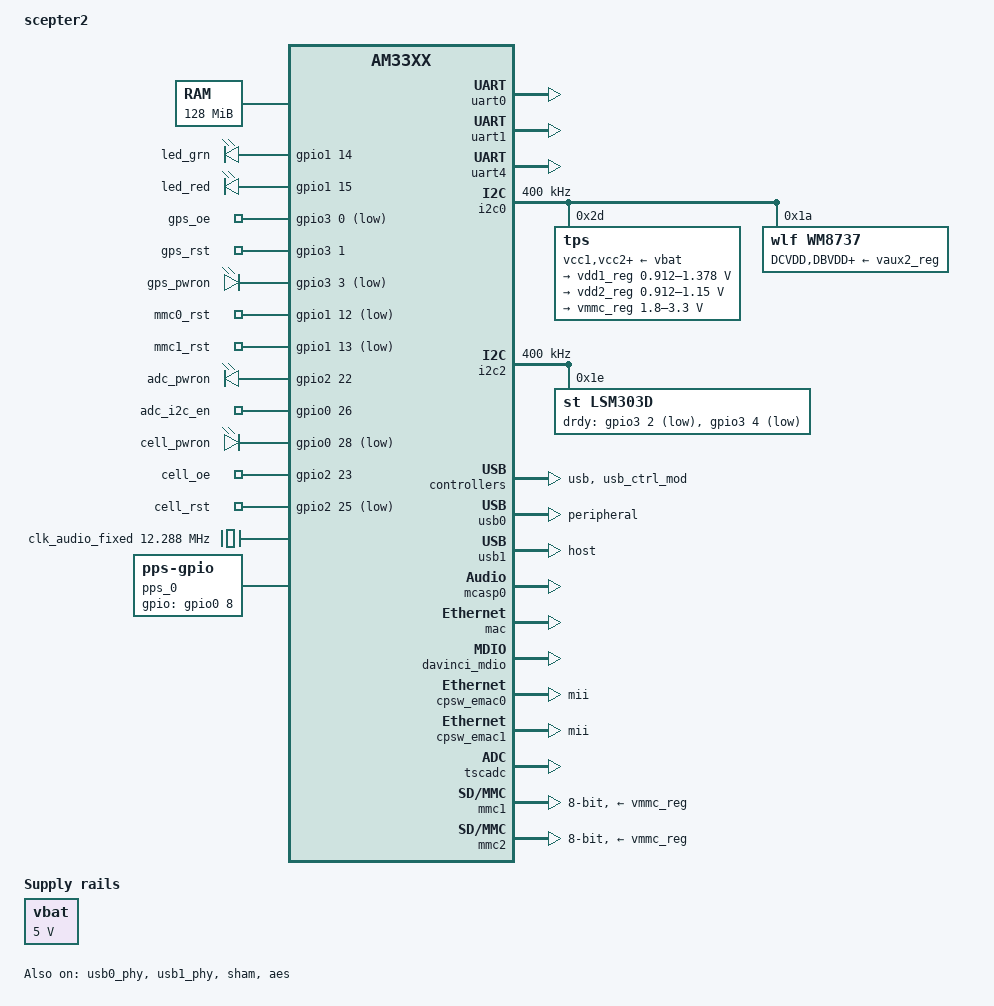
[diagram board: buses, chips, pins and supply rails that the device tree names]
/*
 * Copyright (C) 2015-16 by Tom Riddle, Gener8 Inc http://gener8.net
 * and Robert B. Calhoun, ShotSpotter Inc http://shotspotter.com
 *
 * This program is free software; you can redistribute it and/or modify
 * it under the terms of the GNU General Public License version 2 as
 * published by the Free Software Foundation.
 */
/dts-v1/;

#include "am33xx.dtsi"
#include <dt-bindings/interrupt-controller/irq.h>

/ {
	model = "scepter2";
	compatible = "ti,am335x-evm", "ti,am33xx";

	cpus {
		cpu@0 {
			cpu0-supply = <&vdd1_reg>;
		};
	};

	memory {
		device_type = "memory";
		reg = <0x80000000 0x08000000>; /* 128 MB - SCEPT2 change */
	};

	vbat: fixedregulator@0 {
		compatible = "regulator-fixed";
		regulator-name = "vbat";
		regulator-min-microvolt = <5000000>;
		regulator-max-microvolt = <5000000>;
		regulator-boot-on;
	};


/* Scepter2 leds, gps controls include audio and mmc gpios  */
/* ------------------------------------------------------------------------ */
   	leds {
   		pinctrl-names = "default", "sleep";
		pinctrl-0 = <&user_leds_default>;
		pinctrl-1 = <&user_leds_sleep>;

		compatible = "gpio-leds";

		led@1 {
		      label = "led_grn";
		      gpios = <&gpio1 14 GPIO_ACTIVE_HIGH>;
		      default-state = "on";
		};

		led@2 {
		      label = "led_red";
		      gpios = <&gpio1 15 GPIO_ACTIVE_HIGH>;
		      default-state = "on";
		};
	};

	gpsctls {

   		pinctrl-names = "default", "sleep";
		pinctrl-0 = <&user_gpsctl_default>;
		pinctrl-1 = <&user_gpsctl_sleep>;

		compatible = "gpio-leds";

		gpsctl@1 {
		      label = "gps_oe";
		      gpios = <&gpio3 0 GPIO_ACTIVE_LOW>;
		      default-state = "on";
		};

		gpsctl@2 {
		      label = "gps_rst";
		      gpios = <&gpio3 1 GPIO_ACTIVE_HIGH>;
		      default-state = "off";
		};

		gpsctl@3 {
		      label = "gps_pwron";
		      gpios = <&gpio3 3 GPIO_ACTIVE_LOW>;
		      default-state = "on";
		};

/*  Turn "on" to reset an mmc from software. We don't think you should do this. */

		gpsctl@4 {
			 label = "mmc0_rst";
			 gpios = <&gpio1 12 GPIO_ACTIVE_LOW>;
			 default-state = "off";
		};

		gpsctl@5 {
			 label = "mmc1_rst";
			 gpios = <&gpio1 13 GPIO_ACTIVE_LOW>;
			 default-state = "off";
		};

		gpsctl@6 {
		      label = "adc_pwron";
		      gpios = <&gpio2 22 GPIO_ACTIVE_HIGH>;
		      default-state = "on";
		};

		gpsctl@7 {
		      label = "adc_i2c_en";
		      gpios = <&gpio0 26 GPIO_ACTIVE_HIGH>;
		      default-state = "on";
		};

	};

	cellctls {

   		pinctrl-names = "default", "sleep";
		pinctrl-0 = <&user_cellctl_default>;
		pinctrl-1 = <&user_cellctl_sleep>;
		compatible = "gpio-leds";

/*
 * Fixme: This gpio is called directly in /opt/sst/modem/power-on | -off
 * Telit 910 uses assert timing rather than level to control power so it
 * isn't a good fit for gpio-controlled regulator. Leave out of the dt.
 */
#if 0
		cellctl@1 {
		      label = "cell_on";
		      gpios = <&gpio0 21 GPIO_ACTIVE_LOW>;
		      default-state = "on";
		};
#endif
		cellctl@2 {
		      label = "cell_pwron";
		      gpios = <&gpio0 28 GPIO_ACTIVE_LOW>;
		      default-state = "on";
		};

		cellctl@3 {
		      label = "cell_oe";
		      gpios = <&gpio2 23 GPIO_ACTIVE_HIGH>;
		      default-state = "off";
		};

		cellctl@4 {
		      label = "cell_rst";
		      gpios = <&gpio2 25 GPIO_ACTIVE_LOW>;
		      default-state = "on";
		};


	};

/*
 * am33x mcasp cannot generate a 12.288 MHz clock so we have an external
 * clock. Clock drives Wolfson wm8737 which drives mcasp0 as a slave
 */

	clk_audio_fixed: clk_audio_fixed {
		#clock-cells = <0>;
		compatible = "fixed-clock";
		clock-frequency = <12288000>;
	};

	sound {
	      status = "okay";
	      compatible = "simple-audio-card";
	      simple-audio-card,name = "WM8737";
	      simple-audio-card,widgets =
		"Line", "Line In";
	      simple-audio-card,routing =
		"LINPUT1", "Line In",
		"RINPUT1", "Line In";
	      simple-audio-card,dai-link {
		format = "dsp_b";
		bitclock-master = <&sound_master>;
		frame-master = <&sound_master>;
		cpu {
			sound-dai = <&mcasp0>;
		};
		sound_master: codec {
			sound-dai = <&wm8737>;
			clocks = <&clk_audio_fixed>;
		};
	      };
	};


	pps_0 {
		compatible = "pps-gpio";
		source-name = "ublox_max7";
		source-path = "/dev/ttyO4";
		gpios = <&gpio0 8 GPIO_ACTIVE_HIGH>;
		/* capture-clear; */
	};


/* external pps to gpio0-4 on rcalhoun's board only
        pps_1 {
                compatible = "pps-gpio";
                source-name = "ublox_lea4H";
		source-path = "";
		gpios = <&gpio0 4 GPIO_ACTIVE_HIGH>;
		interrupts = <96 1>;

	};
*/

};

/* =========================================================================================== */
/* =========================================================================================== */

&am33xx_pinmux {
	pinctrl-names = "default";

	sysboot_pins_default: sysboot_pins_default {
			      pinctrl-single,pins = <
			      0xb8 ( PIN_INPUT | MUX_MODE7 ) /* (T3) lcd_data6.gpio2[12] */
			      0xbc ( PIN_INPUT | MUX_MODE7 ) /* (T4) lcd_data7.gpio2[13] */
			      0xc0 ( PIN_INPUT | MUX_MODE7 ) /* (U1) lcd_data8.gpio2[14] */
			      0xc4 ( PIN_INPUT | MUX_MODE7 ) /* (U2) lcd_data9.gpio2[15] */
			      0xc8 ( PIN_INPUT | MUX_MODE7 ) /* (U3) lcd_data10.gpio2[16] */
			      0xcc ( PIN_INPUT | MUX_MODE7 ) /* (U4) lcd_data11.gpio2[17] */
			      >;
	};

	/* interrupt from pmic */
	pmic_int1_default: pmic_int1_default {
		pinctrl-single,pins = <
			0x8c ( PIN_INPUT | MUX_MODE7 ) /* (V12) gpmc_clk.gpio2[1] */
		>;
	};

        /* wm8737 control */
	wm8737_pins_default: wm8737_pins_default {
		pinctrl-single,pins = <
			0x18c ( PIN_INPUT_PULLUP | MUX_MODE0 ) /* (C16) I2C0_SCL.I2C0_SCL */
			0x188 ( PIN_INPUT_PULLUP | MUX_MODE0 ) /* (C17) I2C0_SDA.I2C0_SDA */
		>;
	};

	/* st lsm303 accelerometer-magnetometer */
	lsm303d_i2c_pins_default: lsm303d_i2c_pins_default {
		pinctrl-single,pins = <
			0x154 ( PIN_INPUT_PULLUP | MUX_MODE2 ) /* (B17) spi0_d0.I2C2_SCL */
			0x150 ( PIN_INPUT_PULLUP | MUX_MODE2 ) /* (A17) spi0_sclk.I2C2_SDA */
			0x110 ( PIN_INPUT_PULLUP | MUX_MODE7 ) /* (J15) gmii1_rxer.gpio3[2] lsm303d INT1*/
			0x118 ( PIN_INPUT_PULLUP | MUX_MODE7 ) /* (J17) gmii1_rxdv.gpio3[4] lsm303d INT2 */
		>;
	};

	lsm303d_i2c_pins_sleep: lsm303d_i2c_pins_sleep {
		pinctrl-single,pins = <
			0x154 ( PIN_INPUT_PULLUP | MUX_MODE2 ) /* (B17) spi0_d0.I2C2_SCL */
			0x150 ( PIN_INPUT_PULLUP | MUX_MODE2 ) /* (A17) spi0_sclk.I2C2_SDA */
			0x110 ( PIN_INPUT_PULLUP | MUX_MODE7 ) /* (J15) gmii1_rxer.gpio3[2] lsm303d INT1*/
			0x118 ( PIN_INPUT_PULLUP | MUX_MODE7 ) /* (J17) gmii1_rxdv.gpio3[4] lsm303d INT2 */
		>;
	};


	uart0_pins: pinmux_uart0_pins {
		pinctrl-single,pins = <
			0x170 (PIN_INPUT_PULLUP | MUX_MODE0)	/* uart0_rxd.uart0_rxd */
			0x174 (PIN_OUTPUT_PULLDOWN | MUX_MODE0)	/* uart0_txd.uart0_txd */
		>;
	};

	uart1_pins_default: pinmux_uart1_pins_default {
		pinctrl-single,pins = <
			0x178 (PIN_INPUT | MUX_MODE0)			/* uart1_ctsn.uart1_ctsn */
			0x17C (PIN_OUTPUT_PULLDOWN | MUX_MODE0)	/* uart1_rtsn.uart1_rtsn */
			0x180 (PIN_INPUT_PULLUP | MUX_MODE0)	/* uart1_rxd.uart1_rxd */
			0x184 (PIN_OUTPUT_PULLDOWN | MUX_MODE0) 	/* uart1_txd.uart1_txd */
		>;
	};

	uart1_pins_sleep: pinmux_uart1_pins_sleep {
		pinctrl-single,pins = <
			0x178 (PIN_INPUT_PULLDOWN | MUX_MODE7)
			0x17C (PIN_INPUT_PULLDOWN | MUX_MODE7)
			0x180 (PIN_INPUT_PULLDOWN | MUX_MODE7)
			0x184 (PIN_INPUT_PULLDOWN | MUX_MODE7)
		>;
	};


/* kpps is not working sensibly with pps-ldisc, make both kpps inputs into gpios */

	uart_gps_pins_default: uart_gps_pins_default {
		pinctrl-single,pins = <
			0x11c ( PIN_INPUT_PULLUP | MUX_MODE3 ) /* (J18) gmii1_txd3.uart4_rxd */
			0x120 ( PIN_OUTPUT_PULLDOWN | MUX_MODE3 ) /* (K15) gmii1_txd2.uart4_txd */
			0xd0 ( PIN_INPUT | MUX_MODE7 ) /* (V2) lcd_data12.gpio0[8] */
			0xe8 ( PIN_INPUT | MUX_MODE7 )  /* (V5) lcd_pclk.gpio2[24] */
			0x158 ( PIN_INPUT_PULLDOWN | MUX_MODE7 ) /* (B16) spi0_d1.gpio0[4] */
		       	0x168 ( PIN_INPUT | MUX_MODE5 )  /* (E18) uart0_ctsn.timer7 pps_alt on rev3 */
		>;
	};

	/* Optional sleep pin settings. Must manually enter values in the below skeleton. */
	uart_gps_pins_sleep: uart_gps_pins_sleep {
		pinctrl-single,pins = <
			0x11c ( PIN_INPUT | MUX_MODE3 ) /* (J18) gmii1_txd3.uart4_rxd */
			0x120 ( PIN_OUTPUT | MUX_MODE3 ) /* (K15) gmii1_txd2.uart4_txd */
			0xd0 ( PIN_INPUT | MUX_MODE7 ) /* (V2) lcd_data12.gpio0[8] */
			0xe8 ( PIN_INPUT | MUX_MODE7 ) /* (V5) lcd_pclk.gpio2[24] */
			0x158 ( PIN_INPUT_PULLDOWN | MUX_MODE7 ) /* (B16) spi0_d1.gpio0[4] */
		       	0x168 ( PIN_INPUT_PULLDOWN | MUX_MODE7 )  /* (E18) uart0_ctsn.timer7 pps_alt on rev3 */
		>;
	};


/* Scepter 2 changed pins directly here to Slave 2 settings and MII2 per pinmux tool */

	cpsw_default: cpsw_default {
		pinctrl-single,pins = <
			/* Slave 2 */
		0x40 ( PIN_OUTPUT_PULLDOWN | MUX_MODE1 ) /* (R13) gpmc_a0.gmii2_txen */
		0x44 ( PIN_INPUT_PULLDOWN | MUX_MODE1 ) /* (V14) gpmc_a1.gmii2_rxdv */
		0x48 ( PIN_OUTPUT_PULLDOWN | MUX_MODE1 ) /* (U14) gpmc_a2.gmii2_txd3 */
		0x4c ( PIN_OUTPUT_PULLDOWN | MUX_MODE1 ) /* (T14) gpmc_a3.gmii2_txd2 */
		0x50 ( PIN_OUTPUT_PULLDOWN | MUX_MODE1 ) /* (R14) gpmc_a4.gmii2_txd1 */
		0x54 ( PIN_OUTPUT_PULLDOWN | MUX_MODE1 ) /* (V15) gpmc_a5.gmii2_txd0 */
		0x58 ( PIN_INPUT_PULLDOWN | MUX_MODE1 ) /* (U15) gpmc_a6.gmii2_txclk */
		0x5c ( PIN_INPUT_PULLDOWN | MUX_MODE1 ) /* (T15) gpmc_a7.gmii2_rxclk */
		0x60 ( PIN_INPUT_PULLDOWN | MUX_MODE1 ) /* (V16) gpmc_a8.gmii2_rxd3 */
		0x64 ( PIN_INPUT_PULLDOWN | MUX_MODE1 ) /* (U16) gpmc_a9.gmii2_rxd2 */
		0x68 ( PIN_INPUT_PULLDOWN | MUX_MODE1 ) /* (T16) gpmc_a10.gmii2_rxd1 */
		0x6c ( PIN_INPUT_PULLDOWN | MUX_MODE1 ) /* (V17) gpmc_a11.gmii2_rxd0 */
		0x70 ( PIN_INPUT_PULLDOWN | MUX_MODE1 ) /* (T17) gpmc_wait0.gmii2_crs */
		0x74 ( PIN_INPUT_PULLDOWN | MUX_MODE1 ) /* (U17) gpmc_wpn.gmii2_rxer */
		0x78 ( PIN_INPUT_PULLDOWN | MUX_MODE1 ) /* (U18) gpmc_be1n.gmii2_col */

		0x9c ( PIN_OUTPUT_PULLUP | MUX_MODE7 ) /* (T6) gpmc_be0n_cle.gpio2[5] ETH_RST */
		0x20 ( PIN_INPUT_PULLUP | MUX_MODE7 ) /* (U10) gpmc_ad8.gpio0[22] ETH_INT */
		>;
	};

	cpsw_sleep: cpsw_sleep {
		pinctrl-single,pins = <
			/* Slave 2 reset value */
		0x40 ( PIN_OUTPUT_PULLDOWN | MUX_MODE1 ) /* (R13) gpmc_a0.gmii2_txen */
		0x44 ( PIN_INPUT_PULLDOWN | MUX_MODE1 ) /* (V14) gpmc_a1.gmii2_rxdv */
		0x48 ( PIN_OUTPUT_PULLDOWN | MUX_MODE1 ) /* (U14) gpmc_a2.gmii2_txd3 */
		0x4c ( PIN_OUTPUT_PULLDOWN | MUX_MODE1 ) /* (T14) gpmc_a3.gmii2_txd2 */
		0x50 ( PIN_OUTPUT_PULLDOWN | MUX_MODE1 ) /* (R14) gpmc_a4.gmii2_txd1 */
		0x54 ( PIN_OUTPUT_PULLDOWN | MUX_MODE1 ) /* (V15) gpmc_a5.gmii2_txd0 */
		0x58 ( PIN_INPUT_PULLDOWN | MUX_MODE1 ) /* (U15) gpmc_a6.gmii2_txclk */
		0x5c ( PIN_INPUT_PULLDOWN | MUX_MODE1 ) /* (T15) gpmc_a7.gmii2_rxclk */
		0x60 ( PIN_INPUT_PULLDOWN | MUX_MODE1 ) /* (V16) gpmc_a8.gmii2_rxd3 */
		0x64 ( PIN_INPUT_PULLDOWN | MUX_MODE1 ) /* (U16) gpmc_a9.gmii2_rxd2 */
		0x68 ( PIN_INPUT_PULLDOWN | MUX_MODE1 ) /* (T16) gpmc_a10.gmii2_rxd1 */
		0x6c ( PIN_INPUT_PULLDOWN | MUX_MODE1 ) /* (V17) gpmc_a11.gmii2_rxd0 */
		0x70 ( PIN_INPUT_PULLDOWN | MUX_MODE1 ) /* (T17) gpmc_wait0.gmii2_crs */
		0x74 ( PIN_INPUT_PULLDOWN | MUX_MODE1 ) /* (U17) gpmc_wpn.gmii2_rxer */
		0x78 ( PIN_INPUT_PULLDOWN | MUX_MODE1 ) /* (U18) gpmc_be1n.gmii2_col */

		0x9c ( PIN_OUTPUT_PULLUP | MUX_MODE7 ) /* (T6) gpmc_be0n_cle.gpio2[5] ETH_RST */
		0x20 ( PIN_INPUT_PULLUP | MUX_MODE7 ) /* (U10) gpmc_ad8.gpio0[22] ETH_INT */
		>;
	};

	davinci_mdio_default: davinci_mdio_default {
		pinctrl-single,pins = <
			/* MDIO */
			0x148 (PIN_INPUT_PULLUP | SLEWCTRL_FAST | MUX_MODE0)	/* mdio_data.mdio_data */
			0x14c (PIN_OUTPUT_PULLUP | MUX_MODE0)			/* mdio_clk.mdio_clk */
		>;
	};

	davinci_mdio_sleep: davinci_mdio_sleep {
		pinctrl-single,pins = <
			/* MDIO reset value */
			0x148 (PIN_INPUT_PULLDOWN | MUX_MODE7)
			0x14c (PIN_INPUT_PULLDOWN | MUX_MODE7)
		>;
	};

	/* mmc1 in device tree is mmc0 to everyone else */
	mmc1_pins_default: pinmux_mmc1_pins {
		pinctrl-single,pins = <
				    0x100 ( PIN_INPUT_PULLUP | MUX_MODE0 ) /* (G17) mmc0_clk.mmc0_clk */
				    0x104 ( PIN_INPUT_PULLUP | MUX_MODE0 ) /* (G18) mmc0_cmd.mmc0_cmd */
				    0x0fc ( PIN_INPUT_PULLUP | MUX_MODE0 ) /* (G16) mmc0_dat0.mmc0_dat0 */
				    0x0f8 ( PIN_INPUT_PULLUP | MUX_MODE0 ) /* (G15) mmc0_dat1.mmc0_dat1 */
				    0x0f4 ( PIN_INPUT_PULLUP | MUX_MODE0 ) /* (F18) mmc0_dat2.mmc0_dat2 */
				    0x0f0 ( PIN_INPUT_PULLUP | MUX_MODE0 ) /* (F17) mmc0_dat3.mmc0_dat3 */
				    0x138 ( PIN_INPUT_PULLUP | MUX_MODE3 ) /* (L16) gmii1_rxd2.mmc0_dat4 */
				    0x134 ( PIN_INPUT_PULLUP | MUX_MODE3 ) /* (L17) gmii1_rxd3.mmc0_dat5 */
				    0x130 ( PIN_INPUT_PULLUP | MUX_MODE3 ) /* (L18) gmii1_rxclk.mmc0_dat6 */
				    0x12c ( PIN_INPUT_PULLUP | MUX_MODE3 ) /* (K18) gmii1_txclk.mmc0_dat7 */
				    /* support "interface board is connected" detection */
				    0x140 ( PIN_INPUT | MUX_MODE7 )        /* (M16) gmii1_rxd0.gpio2[21] */
		>;
	};

	mmc1_pins_sleep: pinmux_mmc1_pins_sleep {
		pinctrl-single,pins = <
				    0x100 ( PIN_INPUT_PULLUP | MUX_MODE0 ) /* (G17) mmc0_clk.mmc0_clk */
				    0x104 ( PIN_INPUT_PULLUP | MUX_MODE0 ) /* (G18) mmc0_cmd.mmc0_cmd */
				    0x0fc ( PIN_INPUT_PULLUP | MUX_MODE0 ) /* (G16) mmc0_dat0.mmc0_dat0 */
				    0x0f8 ( PIN_INPUT_PULLUP | MUX_MODE0 ) /* (G15) mmc0_dat1.mmc0_dat1 */
				    0x0f4 ( PIN_INPUT_PULLUP | MUX_MODE0 ) /* (F18) mmc0_dat2.mmc0_dat2 */
				    0x0f0 ( PIN_INPUT_PULLUP | MUX_MODE0 ) /* (F17) mmc0_dat3.mmc0_dat3 */
				    0x138 ( PIN_INPUT_PULLUP | MUX_MODE3 ) /* (L16) gmii1_rxd2.mmc0_dat4 */
				    0x134 ( PIN_INPUT_PULLUP | MUX_MODE3 ) /* (L17) gmii1_rxd3.mmc0_dat5 */
				    0x130 ( PIN_INPUT_PULLUP | MUX_MODE3 ) /* (L18) gmii1_rxclk.mmc0_dat6 */
				    0x12c ( PIN_INPUT_PULLUP | MUX_MODE3 ) /* (K18) gmii1_txclk.mmc0_dat7 */
				    /* support "interface board is connected" detection */
				    0x140 ( PIN_INPUT | MUX_MODE7 )        /* (M16) gmii1_rxd0.gpio2[21] */
		>;
	};

	/* Device tree mcc2 is mmc1 to everyone else  */
	mmc2_pins_default: pinmux_mmc2_pins_default {
		pinctrl-single,pins = <
				    0x80 ( PIN_INPUT_PULLUP | MUX_MODE2 ) /* (U9) gpmc_csn1.mmc1_clk */
				    0x84 ( PIN_INPUT_PULLUP | MUX_MODE2 ) /* (V9) gpmc_csn2.mmc1_cmd */
				    0x00 ( PIN_INPUT_PULLUP | MUX_MODE1 ) /* (U7) gpmc_ad0.mmc1_dat0 */
				    0x04 ( PIN_INPUT_PULLUP | MUX_MODE1 ) /* (V7) gpmc_ad1.mmc1_dat1 */
				    0x08 ( PIN_INPUT_PULLUP | MUX_MODE1 ) /* (R8) gpmc_ad2.mmc1_dat2 */
				    0x0c ( PIN_INPUT_PULLUP | MUX_MODE1 ) /* (T8) gpmc_ad3.mmc1_dat3 */
				    0x10 ( PIN_INPUT_PULLUP | MUX_MODE1 ) /* (U8) gpmc_ad4.mmc1_dat4 */
				    0x14 ( PIN_INPUT_PULLUP | MUX_MODE1 ) /* (V8) gpmc_ad5.mmc1_dat5 */
				    0x18 ( PIN_INPUT_PULLUP | MUX_MODE1 ) /* (R9) gpmc_ad6.mmc1_dat6 */
				    0x1c ( PIN_INPUT_PULLUP | MUX_MODE1 ) /* (T9) gpmc_ad7.mmc1_dat7 */
		>;
	};

	/* See above, dont fight hardware */
	mmc2_pins_sleep: pinmux_mmc2_pins_sleep {
		pinctrl-single,pins = <
				    0x80 ( PIN_INPUT_PULLUP | MUX_MODE2 ) /* (U9) gpmc_csn1.mmc1_clk */
				    0x84 ( PIN_INPUT_PULLUP | MUX_MODE2 ) /* (V9) gpmc_csn2.mmc1_cmd */
				    0x00 ( PIN_INPUT_PULLUP | MUX_MODE1 ) /* (U7) gpmc_ad0.mmc1_dat0 */
				    0x04 ( PIN_INPUT_PULLUP | MUX_MODE1 ) /* (V7) gpmc_ad1.mmc1_dat1 */
				    0x08 ( PIN_INPUT_PULLUP | MUX_MODE1 ) /* (R8) gpmc_ad2.mmc1_dat2 */
				    0x0c ( PIN_INPUT_PULLUP | MUX_MODE1 ) /* (T8) gpmc_ad3.mmc1_dat3 */
				    0x10 ( PIN_INPUT_PULLUP | MUX_MODE1 ) /* (U8) gpmc_ad4.mmc1_dat4 */
				    0x14 ( PIN_INPUT_PULLUP | MUX_MODE1 ) /* (V8) gpmc_ad5.mmc1_dat5 */
				    0x18 ( PIN_INPUT_PULLUP | MUX_MODE1 ) /* (R9) gpmc_ad6.mmc1_dat6 */
				    0x1c ( PIN_INPUT_PULLUP | MUX_MODE1 ) /* (T9) gpmc_ad7.mmc1_dat7 */
		>;
	};

	user_leds_default: user_leds_default {
		pinctrl-single,pins = <
 			0x38 (PIN_OUTPUT_PULLUP | MUX_MODE7)	/* gpmc_ad14.gpio1_14 scepter2 LED_GRN */
			0x3c (PIN_OUTPUT_PULLUP | MUX_MODE7)	/* gpmc_ad15.gpio1_15 scepter2 LED_RED */
		>;
	};

	user_leds_sleep: user_leds_sleep {
		pinctrl-single,pins = <
 			0x38 (PIN_OUTPUT_PULLUP | MUX_MODE7)	/* gpmc_ad14.gpio1_14 scepter2 LED_GRN */
			0x3c (PIN_OUTPUT_PULLUP | MUX_MODE7)	/* gpmc_ad15.gpio1_15 scepter2 LED_RED */
		>;
	};

	user_gpsctl_default: user_gpsctl_default {
		pinctrl-single,pins = <
 			0x108 (PIN_OUTPUT_PULLUP | MUX_MODE7)	/* (H16) mii1_col.gpio3[0] 0x108 GPIO3_0 scepter2 GPS_OE */
			0x10c (PIN_OUTPUT_PULLUP | MUX_MODE7)	/* (H17) mii1_crs.gpio3[1] 0x10c GPIO3_1 scepter2 GPS_RST */
			0x114 (PIN_OUTPUT_PULLUP | MUX_MODE7)	/* (J16) mii1_txen.gpio3[3] 0x114 GPIO3_3 scepter2 GPS_PWRON */
			0xe0 ( PIN_OUTPUT | MUX_MODE7 ) /* (U5) lcd_vsync.gpio2[22] */

		>;
	};

	user_gpsctl_sleep: user_gpsctl_sleep {
		pinctrl-single,pins = <
 			0x108 (PIN_OUTPUT_PULLUP | MUX_MODE7)	/* (H16) mii1_col.gpio3[0] 0x108 GPIO3_0 scepter2 GPS_OE */
			0x10c (PIN_OUTPUT_PULLUP | MUX_MODE7)	/* (H17) mii1_crs.gpio3[1] 0x10c GPIO3_1 scepter2 GPS_RST */
			0x114 (PIN_OUTPUT_PULLUP | MUX_MODE7)	/* (J16) mii1_txen.gpio3[3] 0x114 GPIO3_3 scepter2 GPS_PWRON */
			0xe0 ( PIN_OUTPUT | MUX_MODE7 ) /* (U5) lcd_vsync.gpio2[22] */
		>;
	};

	user_cellctl_default: user_cellctl_default {
		pinctrl-single,pins = <
			0x124 ( PIN_OUTPUT | MUX_MODE7 ) /* (K16) gmii1_txd1.gpio0[21] */
			0x128 ( PIN_OUTPUT | MUX_MODE7 ) /* (K17) gmii1_txd0.gpio0[28] */
			0xe4 ( PIN_OUTPUT | MUX_MODE7 ) /* (R5) lcd_hsync.gpio2[23] */
			0xec ( PIN_OUTPUT | MUX_MODE7 ) /* (R6) lcd_ac_bias_en.gpio2[25] */
		>;
	};

	user_cellctl_sleep: user_cellctl_sleep {
		pinctrl-single,pins = <
			0x124 ( PIN_OUTPUT | MUX_MODE7 ) /* (K16) gmii1_txd1.gpio0[21] */
			0x128 ( PIN_OUTPUT | MUX_MODE7 ) /* (K17) gmii1_txd0.gpio0[28] */
			0xe4 ( PIN_OUTPUT | MUX_MODE7 ) /* (R5) lcd_hsync.gpio2[23] */
			0xec ( PIN_OUTPUT | MUX_MODE7 ) /* (R6) lcd_ac_bias_en.gpio2[25] */
		>;
	};



    my_usb_1_pins_default: my_usb_1_pins_default {
        pinctrl-single,pins = <
            0x234 ( PIN_OUTPUT_PULLUP | MUX_MODE0 ) /* (F15) USB1_DRVVBUS.USB1_DRVVBUS */
        >;
    };


    /* Optional sleep pin settings. Must manually enter values in the below skeleton. */
    my_usb_1_pins_sleep: my_usb_1_pins_sleep {
        pinctrl-single,pins = <
            0x234 ( PIN_OUTPUT_PULLUP | MUX_MODE0 ) /* (F15) USB1_DRVVBUS.USB1_DRVVBUS */
        >;
    };



	am335x_evm_audio_pins: am335x_evm_audio_pins {
		pinctrl-single,pins = <
			0x1a0 ( PIN_INPUT_PULLDOWN | MUX_MODE0 ) /* (B12) mcasp0_aclkr.mcasp0_aclkr */
			0x1a4 ( PIN_INPUT_PULLDOWN | MUX_MODE0 ) /* (C13) mcasp0_fsr.mcasp0_fsr */
			0x1a8 ( PIN_INPUT_PULLDOWN | MUX_MODE0 ) /* (D13) mcasp0_axr1.mcasp0_axr1 */
			/* GPIO I2C tranceiver enable */
			0x28 ( PIN_OUTPUT | MUX_MODE7 ) /* (T11) gpmc_ad10.gpio0[26] */
		>;
	};

	am335x_evm_audio_pins_sleep: am335x_evm_audio_pins_sleep {
		pinctrl-single,pins = <
			0x1a0 ( PIN_INPUT_PULLDOWN | MUX_MODE0 ) /* (B12) mcasp0_aclkr.mcasp0_aclkr */
			0x1a4 ( PIN_INPUT_PULLDOWN | MUX_MODE0 ) /* (C13) mcasp0_fsr.mcasp0_fsr */
			0x1a8 ( PIN_INPUT_PULLDOWN | MUX_MODE0 ) /* (D13) mcasp0_axr1.mcasp0_axr1 */
			/* GPIO I2C tranceiver enable */
			0x28 ( PIN_OUTPUT | MUX_MODE7 ) /* (T11) gpmc_ad10.gpio0[26] */
		>;
	};

};

/* ===================================================================================== */
/* ===================================================================================== */

/* avoid lockup on boot*/


&rtc {
     clock-names="int-clk";
     ti,hwmods ="disabled";
};

&uart0 {
	pinctrl-names = "default";
	pinctrl-0 = <&uart0_pins>;
	status = "okay";
};

&uart1 {
	pinctrl-names = "default", "sleep";
	pinctrl-0 = <&uart1_pins_default>;
	pinctrl-1 = <&uart1_pins_sleep>;
	status = "okay";
};

&uart4 {
	pinctrl-names = "default", "sleep";
	pinctrl-0 = <&uart_gps_pins_default>;
	pinctrl-1 = <&uart_gps_pins_sleep>;
	status = "okay";
};

&i2c0 {
	pinctrl-names = "default";
	pinctrl-0 = <&wm8737_pins_default>;

	status = "okay";
	clock-frequency = <400000>;

	tps: tps@2d {
		reg = <0x2d>;
	};

	wm8737: wm8737@1a {
		compatible = "wlf,wm8737";
		reg = <0x1a>;
		status = "okay";
		/* Regulators */
		DCVDD-supply = <&vaux2_reg>;
		DBVDD-supply = <&vaux2_reg>;
		AVDD-supply = <&vaux2_reg>;
		MVDD-supply = <&vaux2_reg>;
		#sound-dai-cells = <0>;
	};

};

&i2c2 {
	pinctrl-names = "default","sleep";
	pinctrl-0 = <&lsm303d_i2c_pins_default>;
	pinctrl-1 = <&lsm303d_i2c_pins_sleep>;
	status = "okay";
	clock-frequency = <400000>;


	lsm303d: lsm303d@1e {
		compatible = "st,lsm303d";
		reg = <0x1e>;
		status = "okay";
		/* fields below are not used in the driver yet */
		st,sensors = "accelerometer","magnetometer";
		st,sensor-names = "lsm303d-acc","lsm303d-mag";
		st,drdy-gpios = <&gpio3 2 GPIO_ACTIVE_LOW>, <&gpio3 4 GPIO_ACTIVE_LOW>;
		st,drdy-int-pins = <1>,<2>;
	};

};

&lsm303d {

};

&usb {
    status = "okay";
};

&usb_ctrl_mod {
    status = "okay";
};

/* usb0 used for sw load via RDNIS */
&usb0_phy {
    status = "okay";
};

&usb0 {
    status = "okay";
    dr_mode = "peripheral";
};

/* usb1 used for modem interface */
&usb1_phy {
    status = "okay";
};

&usb1 {
    status = "okay";
    dr_mode = "host";
};

&cppi41dma  {
    status = "okay";
};

/* ------------------------------------------------------------------------ */

#include "tps65910.dtsi"

&mcasp0 {
	pinctrl-names = "default", "sleep";
	pinctrl-0 = <&am335x_evm_audio_pins>;
	pinctrl-1 = <&am335x_evm_audio_pins_sleep>;

	status = "okay";

	op-mode = <0>;          /* MCASP_IIS_MODE */
	tdm-slots = <2>;
	/* 4 serializers */
	serial-dir = <  /* 0: INACTIVE, 1: TX, 2: RX - 0 2 0 0 */
		0 2 0 0
	>;
	tx-num-evt = <32>;
	rx-num-evt = <32>;
	#sound-dai-cells = <0>;
};

&tps {

/* PMIC Inputs 5V_DIG net on schematic */
	vcc1-supply = <&vbat>;
	vcc2-supply = <&vbat>;
	vcc3-supply = <&vbat>;
	vcc4-supply = <&vbat>;
	vcc5-supply = <&vbat>;
	vcc6-supply = <&vbat>;
	vcc7-supply = <&vbat>;
	vccio-supply = <&vbat>;

	regulators {
		vrtc_reg: regulator@0 {
			regulator-always-on;
		};

		vio_reg: regulator@1 {
			regulator-always-on;
		};

		vdd1_reg: regulator@2 {
			/* VDD_MPU voltage limits 0.95V - 1.325V with +/-4% tolerance */
			regulator-name = "vdd_mpu";
			regulator-min-microvolt = <912500>;
			regulator-max-microvolt = <1378000>;
			regulator-boot-on;
			regulator-always-on;
		};

		vdd2_reg: regulator@3 {
			/* VDD_CORE voltage limits 0.95V - 1.1V with +/-4% tolerance */
			regulator-name = "vdd_core";
			regulator-min-microvolt = <912500>;
			regulator-max-microvolt = <1150000>;
			regulator-boot-on;
			regulator-always-on;
		};

		vdd3_reg: regulator@4 {
			regulator-always-on;
		};

		vdig1_reg: regulator@5 {
			regulator-always-on;
		};

		vdig2_reg: regulator@6 {
			regulator-always-on;
		};

		/* Here are the std PMIC reg outputs */
		vpll_reg: regulator@7 {
			regulator-always-on;
		};

		vdac_reg: regulator@8 {
			regulator-always-on;
		};

		vaux1_reg: regulator@9 {
			regulator-always-on;
		};

		vaux2_reg: regulator@10 {
			regulator-always-on;
		};

		vaux33_reg: regulator@11 {
			regulator-always-on;
		};

		vmmc_reg: regulator@12 {
		/*	Scepter 2 has fixed 3.3v */
			regulator-min-microvolt = <1800000>;
			regulator-max-microvolt = <3300000>;
			regulator-always-on;
		};
	};
};

&mac {
    status = "okay";
	pinctrl-names = "default", "sleep";
	pinctrl-0 = <&cpsw_default>;
	pinctrl-1 = <&cpsw_sleep>;
};

&davinci_mdio {
    status = "okay";
	pinctrl-names = "default", "sleep";
	pinctrl-0 = <&davinci_mdio_default>;
	pinctrl-1 = <&davinci_mdio_sleep>;
};

/* Scepter 2 use only one emac, note that forcing emac1 to mdio addr 0 will
 properly direct MII2 to the correct and only available phy */

&cpsw_emac0 {
    status = "ok";
	phy_id = <&davinci_mdio>, <1>;
	phy-mode = "mii";
};

&cpsw_emac1 {
    status = "ok";
	phy_id = <&davinci_mdio>, <0>;
	phy-mode = "mii";
};

&tscadc {
	status = "okay";

	adc {
		ti,adc-channels = <0 1 2 3 4 5 6 7>;
	};
};

&mmc1 {	status = "okay";
	compatible = "ti,am33xx-hsmmc"; /* very similar to ti,omap4-hsmmc */
	max-frequency = <48000000>;
	vmmc-supply = <&vmmc_reg>;
	bus-width = <8>;
	pinctrl-names = "default", "sleep";
	pinctrl-0 = <&mmc1_pins_default>;
	pinctrl-1 = <&mmc1_pins_sleep>;
	ti,non-removable;
	disable-wp;
};

&mmc2 {
	compatible = "ti,am33xx-hsmmc"; /* very similar to ti,omap4-hsmmc */
	max-frequency = <48000000>;
	vmmc-supply = <&vmmc_reg>;
	pinctrl-names = "default", "sleep";
	pinctrl-0 = <&mmc2_pins_default>;
	pinctrl-1 = <&mmc2_pins_sleep>;
	bus-width = <8>;
	status = "okay";
	ti,non-removable;
	disable-wp;
};

&sham {
	status = "okay";
};

&aes {
	status = "okay";
};

&wkup_m3 {
	ti,scale-data-fw = "am335x-evm-scale-data.bin";
};
